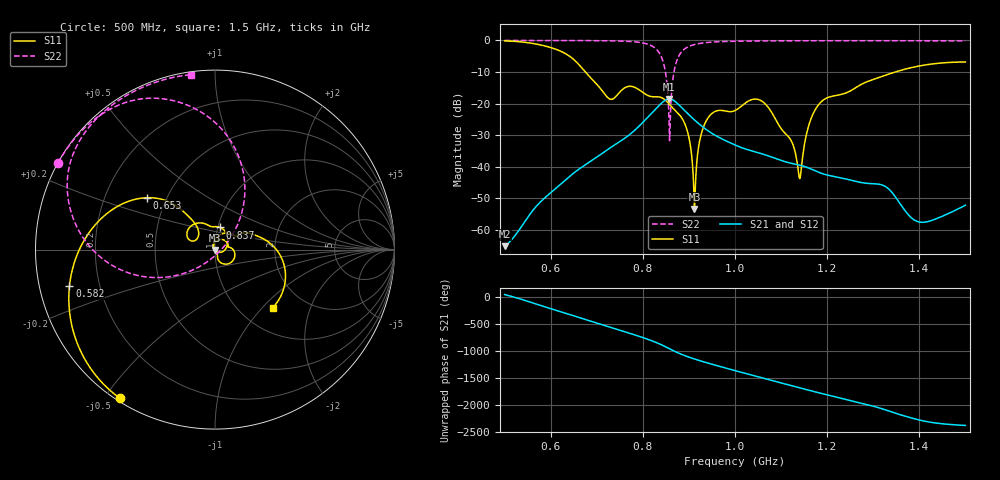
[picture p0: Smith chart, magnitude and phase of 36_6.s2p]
! TOUCHSTONE file generated by CST MICROWAVE STUDIO
! Date and time: Fri Oct  2 19:00:03 2020
! Project name: Scenario_1_Free_Space_out_of_line.cst
! Parameters = {Lambda=346.42; Step_1=17.321; dy1=-259.295; dx1=1039; L_HA=400; MT=2.54; Rad_Dielectric=30; Rad_Lower=7.3; Rad_Upper=30; a_HA=580; a_WG=246; b_HA=500; b_WG=121; c_HA=0; c_WG=187; d_feed=85; h_feed=15; h_lower=18; h_upper=40}
! Header version: 2018
! Port assignment regex: !\s*Touchstone port\s*([0-9]+)\s*=\s*(CST MWS port|CST DS port)\s*([0-9]+|Zmin|Zmax)\s*\(\"(.*)\"\)(\s*mode\s*([0-9]+))?.*
! Touchstone port assignment:
! Touchstone port 1 = CST MWS port 1 ("")
! Touchstone port 2 = CST MWS port 2 ("")
# GHz S DB R 50
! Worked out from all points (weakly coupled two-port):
!   1003 points, 500 MHz to 1.5 GHz, reference 50 ohm
!   highest |S21| = -18.52 dB at 857 MHz (marker M1); lowest = -65.2 dB at 500 MHz (marker M2)
!   lowest |S11| = -53.4 dB at 912 MHz (marker M3), VSWR 1.00, Z = 49.9 - j0.153 ohm
!   |S11| at or under -10 dB: 675.2 MHz to 1.348 GHz (672.6 MHz wide, 66.5 % of centre)
!   |S22| runs from -31.8 to 0.0 dB; largest |S21 - S12| = 8.6e-05
!   S11 on the Smith chart (normalised r, x): 500 MHz: 0.01, -0.55; 582 MHz: 0.09, -0.12; 653 MHz: 0.39, +0.29; 837 MHz: 1.02, +0.26; 1.5 GHz: 1.40, -1.15
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0.5  -0.15 -122.6  -65.19 39.3  -65.19 39.3  -0.01 151.1
0.582  -1.55 -165.8  -50.57 -174.3  -50.58 -174.3  -0.02 145.5
0.653  -6.43 142.7  -41.67 -2.1  -41.67 -2.1  -0.04 139.6
0.667  -8.62 134.0  -40.21 -40.5  -40.21 -40.5  -0.04 138.3
0.728  -18.56 142.5  -34.14 157.1  -34.14 157.1  -0.12 131.0
0.834  -17.89 82.4  -20.80 -146.5  -20.80 -146.5  -3.58 86.0
0.837  -17.96 77.9  -20.35 -157.6  -20.35 -157.6  -4.27 81.8
0.848  -18.79 59.3  -18.99 158.6  -18.99 158.6  -9.18 61.5
0.857  -20.12 44.9  -18.52 119.5  -18.52 119.5  -26.15 16.2
0.872  -22.45 24.6  -19.57 55.9  -19.57 55.9  -7.20 -160.2
0.894  -27.52 -17.6  -22.72 -20.5  -22.72 -20.5  -2.36 172.5
0.912  -53.37 -134.3  -25.19 -73.4  -25.19 -73.4  -1.30 161.5
0.925  -30.66 102.3  -26.82 -108.5  -26.82 -108.5  -0.91 156.1
0.939  -25.11 73.1  -28.38 -144.0  -28.38 -144.0  -0.66 151.8
1  -22.22 9.9  -33.12 71.5  -33.12 71.5  -0.26 140.2
1.065  -20.03 -54.5  -36.22 -77.3  -36.22 -77.3  -0.15 132.9
1.122  -31.80 -69.3  -38.93 154.9  -38.93 154.9  -0.11 127.8
1.14  -43.74 -150.9  -39.51 114.5  -39.50 114.5  -0.10 126.3
1.167  -24.08 85.6  -40.85 52.5  -40.85 52.4  -0.10 124.2
1.334  -10.65 9.5  -47.12 43.0  -47.14 43.0  -0.09 111.4
1.4  -8.09 -12.5  -57.54 -123.3  -57.59 -123.0  -0.10 106.3
1.5  -6.82 -45.3  -52.21 136.2  -51.93 135.5  -0.14 97.9
